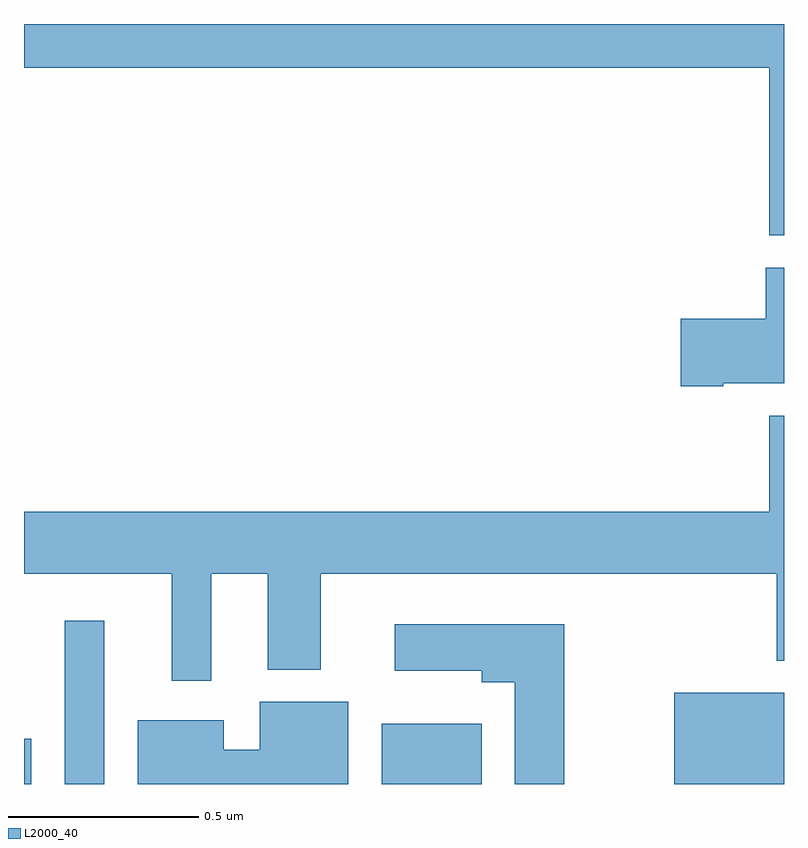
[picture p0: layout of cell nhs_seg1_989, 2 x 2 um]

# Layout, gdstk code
import gdstk
lib = gdstk.Library(unit=1e-6, precision=1e-09)
def R(c, l, rs):  # rectangles x0, y0, x1, y1
    for r in rs: c.add(gdstk.rectangle(r[:2], r[2:], *l))
def P(c, l, *ps):  # polygons
    for p in ps: c.add(gdstk.Polygon(p, *l))
L2000_40 = (2000, 40)

nhs_seg1_989 = lib.new_cell('nhs_seg1_989')
R(nhs_seg1_989, L2000_40, [(123,531.199,123.019,531.318), (123.107,531.199,123.211,531.628), (123.941,531.199,124.204,531.358), (124.711,531.199,125,531.439)])
P(nhs_seg1_989, L2000_40, [(125,533.199),(123,533.199),(123,533.084),(124.961,533.084),(124.961,532.643),(125,532.643)],
  [(124.84,532.253),(125,532.253),(125,532.558),(124.952,532.558),(124.952,532.424),(124.728,532.424),(124.728,532.246),(124.84,532.246)],
  [(123.493,531.752),(123.641,531.752),(123.641,531.5),(123.781,531.5),(123.781,531.752),(124.981,531.752),(124.981,531.524),(125,531.524),(125,532.168),(124.961,532.168),(124.961,531.916),(123,531.916),(123,531.752),(123.389,531.752),(123.389,531.471),(123.493,531.471)],
  [(124.422,531.619),(123.975,531.619),(123.975,531.497),(124.205,531.497),(124.205,531.467),(124.292,531.467),(124.292,531.199),(124.422,531.199)],
  [(123.853,531.415),(123.62,531.415),(123.62,531.289),(123.526,531.289),(123.526,531.367),(123.299,531.367),(123.299,531.199),(123.853,531.199)])

lib.write_gds('nhs_seg1_989.gds')
